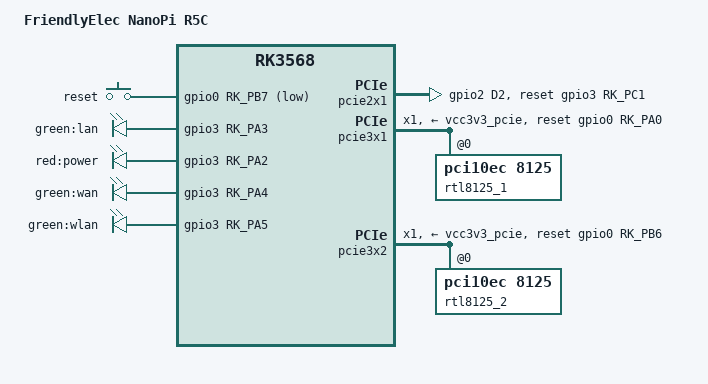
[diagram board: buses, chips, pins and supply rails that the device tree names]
// SPDX-License-Identifier: GPL-2.0-or-later OR MIT
/*
 * Copyright (c) 2022 FriendlyElec Computer Tech. Co., Ltd.
 * (http://www.friendlyelec.com)
 *
 * Copyright (c) 2023 Tianling Shen <cnsztl@immortalwrt.org>
 */

/dts-v1/;
#include "rk3568-nanopi-r5s.dtsi"

/ {
	model = "FriendlyElec NanoPi R5C";
	compatible = "friendlyarm,nanopi-r5c", "rockchip,rk3568";

	aliases {
		ethernet0 = &rtl8125_1;
		ethernet1 = &rtl8125_2;
	};

	gpio-keys {
		compatible = "gpio-keys";
		pinctrl-names = "default";
		pinctrl-0 = <&reset_button_pin>;

		button-reset {
			debounce-interval = <50>;
			gpios = <&gpio0 RK_PB7 GPIO_ACTIVE_LOW>;
			label = "reset";
			linux,code = <KEY_RESTART>;
		};
	};

	gpio-leds {
		compatible = "gpio-leds";
		pinctrl-names = "default";
		pinctrl-0 = <&lan_led_pin>, <&power_led_pin>, <&wan_led_pin>, <&wlan_led_pin>;

		led-lan {
			label = "green:lan";
			gpios = <&gpio3 RK_PA3 GPIO_ACTIVE_HIGH>;
		};

		power_led: led-power {
			label = "red:power";
			gpios = <&gpio3 RK_PA2 GPIO_ACTIVE_HIGH>;
		};

		led-wan {
			label = "green:wan";
			gpios = <&gpio3 RK_PA4 GPIO_ACTIVE_HIGH>;
		};

		led-wlan {
			label = "green:wlan";
			gpios = <&gpio3 RK_PA5 GPIO_ACTIVE_HIGH>;
		};
	};
};

&pcie2x1 {
	pinctrl-names = "default";
	pinctrl-0 = <&pcie20_reset_pin>;
	reset-gpios = <&gpio3 RK_PC1 GPIO_ACTIVE_HIGH>;
	status = "okay";
};

&pcie3x1 {
	num-lanes = <1>;
	reset-gpios = <&gpio0 RK_PA0 GPIO_ACTIVE_HIGH>;
	vpcie3v3-supply = <&vcc3v3_pcie>;
	status = "okay";

	pcie@10 {
		reg = <0x00100000 0 0 0 0>;
		#address-cells = <3>;
		#size-cells = <2>;

		rtl8125_1: pcie-eth@10,0 {
			compatible = "pci10ec,8125";
			reg = <0x000000 0 0 0 0>;

			realtek,led-data = <0x78>;
		};
	};
};

&pcie3x2 {
	num-lanes = <1>;
	reset-gpios = <&gpio0 RK_PB6 GPIO_ACTIVE_HIGH>;
	vpcie3v3-supply = <&vcc3v3_pcie>;
	status = "okay";

	pcie@20 {
		reg = <0x00200000 0 0 0 0>;
		#address-cells = <3>;
		#size-cells = <2>;

		rtl8125_2: pcie-eth@20,0 {
			compatible = "pci10ec,8125";
			reg = <0x000000 0 0 0 0>;

			realtek,led-data = <0x78>;
		};
	};
};

&pinctrl {
	gpio-leds {
		lan_led_pin: lan-led-pin {
			rockchip,pins = <3 RK_PA3 RK_FUNC_GPIO &pcfg_pull_none>;
		};

		power_led_pin: power-led-pin {
			rockchip,pins = <3 RK_PA2 RK_FUNC_GPIO &pcfg_pull_none>;
		};

		wan_led_pin: wan-led-pin {
			rockchip,pins = <3 RK_PA4 RK_FUNC_GPIO &pcfg_pull_none>;
		};

		wlan_led_pin: wlan-led-pin {
			rockchip,pins = <3 RK_PA5 RK_FUNC_GPIO &pcfg_pull_none>;
		};
	};

	pcie {
		pcie20_reset_pin: pcie20-reset-pin {
			rockchip,pins = <2 RK_PD2 RK_FUNC_GPIO &pcfg_pull_up>;
		};
	};

	rockchip-key {
		reset_button_pin: reset-button-pin {
			rockchip,pins = <4 RK_PA0 RK_FUNC_GPIO &pcfg_pull_up>;
		};
	};
};
